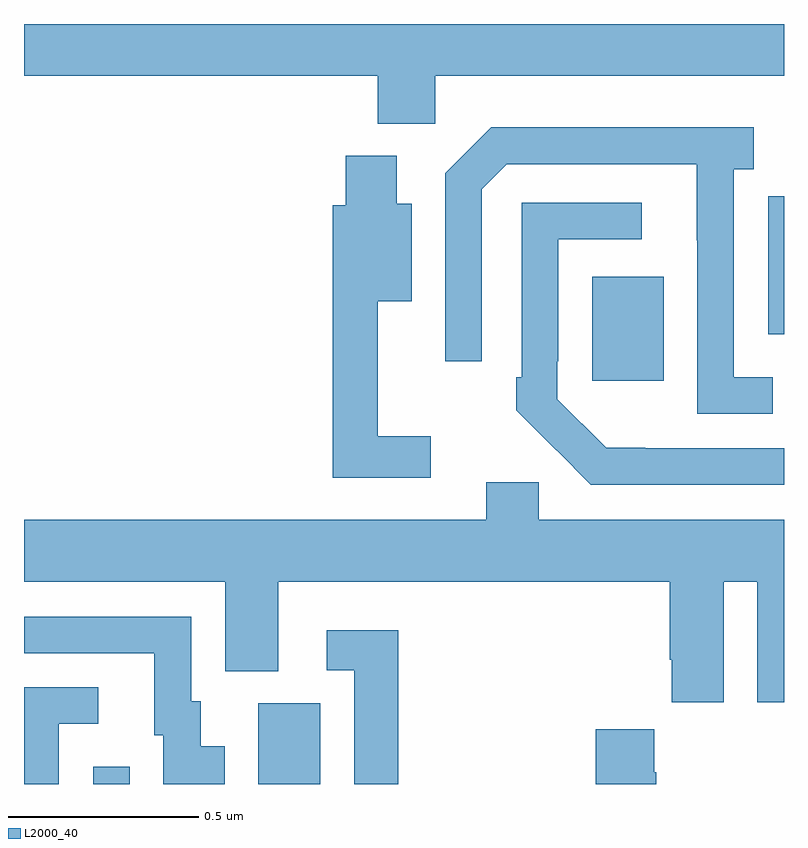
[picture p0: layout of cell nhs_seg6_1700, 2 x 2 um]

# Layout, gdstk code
import gdstk
lib = gdstk.Library(unit=1e-6, precision=1e-09)
def R(c, l, rs):  # rectangles x0, y0, x1, y1
    for r in rs: c.add(gdstk.rectangle(r[:2], r[2:], *l))
def P(c, l, *ps):  # polygons
    for p in ps: c.add(gdstk.Polygon(p, *l))
L2000_40 = (2000, 40)

nhs_seg6_1700 = lib.new_cell('nhs_seg6_1700')
R(nhs_seg6_1700, L2000_40, [(133.182,917.5,133.278,917.545), (133.616,917.5,133.78,917.712), (134.495,918.561,134.683,918.835)])
P(nhs_seg6_1700, L2000_40, [(134.082,919.364),(135,919.364),(135,919.5),(133,919.5),(133,919.364),(133.931,919.364),(133.931,919.238),(134.082,919.238)],
  [(134.971,918.57),(134.868,918.57),(134.868,919.118),(134.92,919.118),(134.92,919.228),(134.23,919.228),(134.109,919.107),(134.109,918.612),(134.205,918.612),(134.205,919.065),(134.271,919.131),(134.771,919.131),(134.771,918.931),(134.772,918.931),(134.772,918.474),(134.971,918.474)],
  [(134.071,918.415),(133.931,918.415),(133.931,918.77),(134.02,918.77),(134.02,919.027),(133.981,919.027),(133.981,919.153),(133.847,919.153),(133.847,919.023),(133.813,919.023),(133.813,918.306),(134.071,918.306)],
  [(135,919.047),(134.959,919.047),(134.959,918.938),(134.958,918.938),(134.958,918.684),(135,918.684)],
  [(135,918.384),(134.635,918.384),(134.635,918.385),(134.532,918.385),(134.403,918.513),(134.403,918.613),(134.406,918.613),(134.406,918.933),(134.626,918.933),(134.626,919.029),(134.31,919.029),(134.31,918.571),(134.295,918.571),(134.295,918.483),(134.4,918.378),(134.401,918.379),(134.492,918.288),(135,918.288)],
  [(134.842,918.032),(134.93,918.032),(134.93,917.715),(135,917.715),(135,918.196),(134.355,918.196),(134.355,918.294),(134.216,918.294),(134.216,918.196),(133,918.196),(133,918.032),(133.529,918.032),(133.529,917.797),(133.669,917.797),(133.669,918.032),(134.699,918.032),(134.699,917.827),(134.705,917.827),(134.705,917.715),(134.842,917.715)],
  [(133.528,917.599),(133.465,917.599),(133.465,917.718),(133.44,917.718),(133.44,917.94),(133,917.94),(133,917.844),(133.343,917.844),(133.343,917.628),(133.367,917.628),(133.367,917.5),(133.528,917.5)],
  [(133.985,917.905),(133.797,917.905),(133.797,917.799),(133.869,917.799),(133.869,917.5),(133.985,917.5)],
  [(133.092,917.658),(133.195,917.658),(133.195,917.754),(133,917.754),(133,917.5),(133.092,917.5)],
  [(134.664,917.531),(134.659,917.531),(134.659,917.644),(134.504,917.644),(134.504,917.5),(134.664,917.5)])

lib.write_gds('nhs_seg6_1700.gds')
